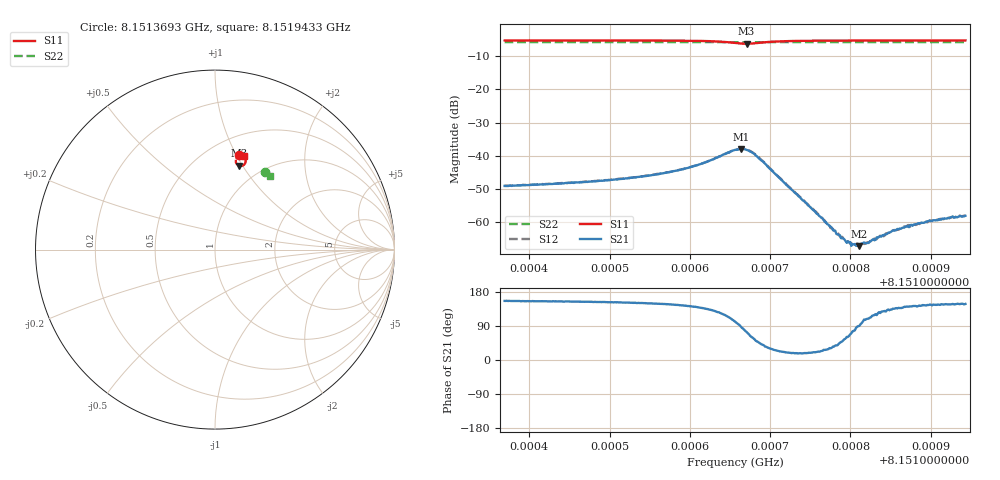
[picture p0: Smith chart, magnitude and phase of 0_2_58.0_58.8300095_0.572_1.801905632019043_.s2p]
#  HZ  S  RI  R  50.00
! Rohde & Schwarz Vector Network Analyzer
! Rohde-Schwarz,ZNB20-2Port,1311601062101988,3.16
! Created: UTC 3/21/2024, 12:50:13 AM
! freq[Hz]  re:S11  im:S11  re:S21  im:S21  re:S12  im:S12  re:S22  im:S22
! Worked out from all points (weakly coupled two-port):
!   401 points, 8.1513693 GHz to 8.1519433 GHz, reference 50 ohm
!   highest |S21| = -37.90 dB at 8.1516635 GHz (marker M1); lowest = -67.1 dB at 8.1518113 GHz (marker M2)
!   lowest |S11| = -6.3 dB at 8.1516707 GHz (marker M3), VSWR 2.89, Z = 39.5 + j48.3 ohm
!   |S11| at or under -10 dB: nowhere
!   |S22| runs from -5.8 to -5.8 dB; largest |S21 - S12| = 0.00044
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8.15136928e9  0.1348 0.5271  -0.00323 0.00144  -0.00325 0.00149  0.276 0.434
8.15146544e9  0.1437 0.5245  -0.00362 0.00178  -0.0036 0.00184  0.2813 0.4304
8.15151854e9  0.1497 0.5223  -0.00401 0.00216  -0.004 0.00222  0.2843 0.4284
8.15156159e9  0.1558 0.5192  -0.00454 0.00279  -0.00454 0.00289  0.2866 0.4267
8.15158886e9  0.1609 0.5155  -0.00505 0.00361  -0.00502 0.00373  0.2879 0.4254
8.15161182e9  0.166 0.5095  -0.00557 0.00494  -0.00553 0.005  0.2892 0.4243
8.15165631e9  0.1613 0.4723  -0.00243 0.0121  -0.00239 0.0121  0.2907 0.4213
8.15166349e9  0.1494 0.4663  0.000338 0.0127  0.000337 0.0128  0.2905 0.4213
8.15167067e9  0.1343 0.4671  0.00341 0.0119  0.00352 0.012  0.2905 0.4211
8.15167784e9  0.1222 0.4753  0.0057 0.00971  0.00579 0.00979  0.2903 0.4214
8.15168789e9  0.1157 0.4909  0.00646 0.00606  0.00648 0.00614  0.2908 0.4218
8.15175247e9  0.1379 0.5208  0.00151 0.000535  0.00155 0.000515  0.2954 0.4202
8.15178548e9  0.1449 0.5217  0.000484 0.000442  0.000495 0.000433  0.2974 0.4189
8.15179696e9  0.1468 0.5218  0.000254 0.000453  0.000263 0.000449  0.298 0.4184
8.15180413e9  0.148 0.5218  0.000108 0.000457  0.000132 0.000464  0.2985 0.4181
8.15181131e9  0.1489 0.5216  -9.38e-08 0.00044  -1.2e-05 0.00047  0.2988 0.418
8.15181992e9  0.1501 0.5217  -0.00015 0.000461  -0.000129 0.000474  0.2993 0.4175
8.15184862e9  0.1537 0.5213  -0.000466 0.000529  -0.000438 0.000548  0.3009 0.4164
8.15187015e9  0.156 0.5209  -0.000678 0.000544  -0.000663 0.000567  0.3019 0.4155
8.15189168e9  0.1582 0.5204  -0.000806 0.000575  -0.000826 0.000605  0.303 0.4147
8.15192469e9  0.1613 0.5196  -0.000992 0.000653  -0.000991 0.000643  0.3048 0.4133
8.15194334e9  0.1631 0.5194  -0.00107 0.00067  -0.00106 0.000702  0.3057 0.4127
